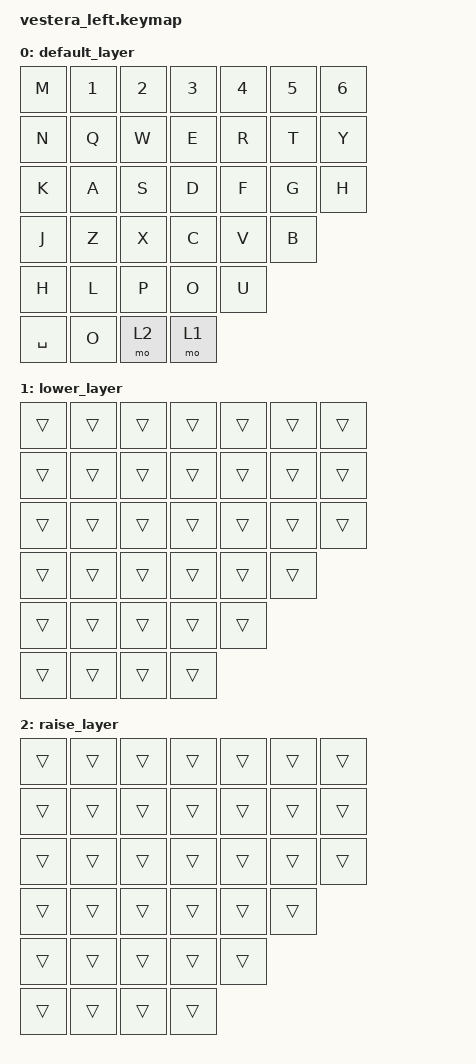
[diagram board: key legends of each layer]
#include <behaviors.dtsi>
#include <dt-bindings/zmk/keys.h>

/ {
  keymap {
    compatible = "zmk,keymap";

    default_layer {
      // |  TAB |  1  |  2  |  3  |  4  |  5  |  6  |
      // | CTRL |  Q  |  W  |  E  |  R  |  T  |  Y  |
      // | ALT  |  A  |  S  |  D  |  F  |  G  |  H  |
      // | GUI  |  Z  |  X  |  C  |  V  |  B  |  N  |
      // | ESC  | TAB |SHIFT|CTRL |ENTER|
      // |SPACE |BSPC |LEFT |RIGHT|
      bindings = <
        &kp M     &kp N1     &kp N2     &kp N3     &kp N4     &kp N5     &kp N6      // Row 0 (numbers)
        &kp N     &kp Q     &kp W     &kp E     &kp R     &kp T     &kp Y      // Row 1 (letters)
        &kp K     &kp A     &kp S     &kp D     &kp F     &kp G     &kp H      // Row 2 (letters)
        &kp J     &kp Z     &kp X     &kp C     &kp V     &kp B                   // Row 3 (letters)
        &kp H      &kp L   &kp P  &kp O &kp U                         // Row 4 (5 keys only)
        &kp SPACE    &kp O  &mo 2  &mo 1                                   // Row 5 (thumb cluster)
      >;
    };
    lower_layer {
      bindings = <
        &trans  &trans  &trans  &trans  &trans  &trans  &trans
        &trans  &trans  &trans  &trans  &trans  &trans  &trans
        &trans  &trans  &trans  &trans  &trans  &trans  &trans
        &trans  &trans  &trans  &trans  &trans  &trans
        &trans  &trans  &trans  &trans  &trans
        &trans  &trans  &trans  &trans
      >;
    };

    raise_layer {
      bindings = <
        &trans  &trans  &trans  &trans  &trans  &trans  &trans
        &trans  &trans  &trans  &trans  &trans  &trans  &trans
        &trans  &trans  &trans  &trans  &trans  &trans  &trans
        &trans  &trans  &trans  &trans  &trans  &trans
        &trans  &trans  &trans  &trans  &trans
        &trans  &trans  &trans  &trans
      >;
    };
  };
}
